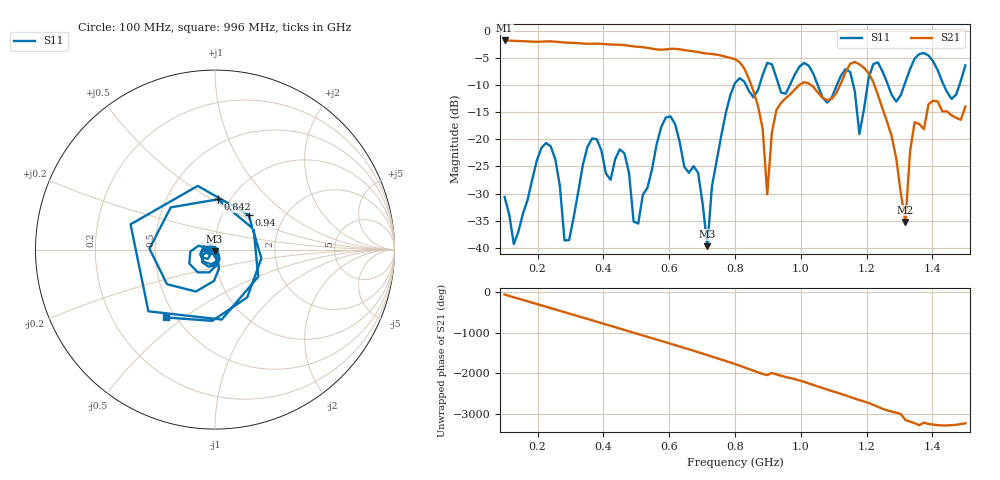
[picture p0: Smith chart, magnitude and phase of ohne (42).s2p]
! NanoVNA-App
! Date: 2025-09-26 09:55:43
! Start: 100MHz Stop: 1,5GHz Points: 101
! S-Parameter data: F S11 S21 S12 S22
# Hz S RI R 50
!  Frequency  S11_Real  S11_Imag  S21_Real  S21_Imag  S12_Real  S12_Imag  S22_Real  S22_Imag
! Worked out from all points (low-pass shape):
!   101 points, 100 MHz to 1.5 GHz, reference 50 ohm
!   highest |S21| = -1.79 dB at 100 MHz (marker M1); lowest = -35.2 dB at 1.318 GHz (marker M2)
!   |S21| within 3 dB of the highest: start of sweep to 771.5 MHz
!   lowest |S11| = -39.7 dB at 716 MHz (marker M3), VSWR 1.02, Z = 49.8 - j1.01 ohm
!   |S11| at or under -10 dB: start of sweep to 797.7 MHz; 833.4 MHz to 874.6 MHz (41.27 MHz wide, 4.83 % of centre); 1.051 GHz to 1.11 GHz (58.23 MHz wide, 5.39 % of centre) (the widest 3 of 7)
!   S12 and S22 are empty: the file has one direction only
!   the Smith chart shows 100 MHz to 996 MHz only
!   S11 on the Smith chart (normalised r, x): 100 MHz: 0.94, -0.01; 842 MHz: 0.88, +0.53; 940 MHz: 1.33, +0.55; 996 MHz: 0.44, -0.43
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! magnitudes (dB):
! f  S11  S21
! 100 MHz  -30.6  -1.8
! 128 MHz  -39.3  -1.9
! 226 MHz  -20.7  -2.0
! 296 MHz  -38.6  -2.2
! 338 MHz  -24.6  -2.4
! 464 MHz  -22.6  -2.6
! 506 MHz  -35.5  -3.0
! 576 MHz  -17.7  -3.5
! 716 MHz  -39.7  -4.2
! 800 MHz  -9.6  -5.3
! 842 MHz  -11.0  -8.8
! 898 MHz  -5.9  -30.1
! 940 MHz  -11.4  -13.3
! 996 MHz  -6.6  -10.0
! 1.038 GHz  -7.9  -10.3
! 1.15 GHz  -7.6  -6.1
! 1.178 GHz  -19.0  -6.2
! 1.22 GHz  -6.2  -9.4
! 1.276 GHz  -11.8  -19.4
! 1.318 GHz  -9.4  -35.2
! 1.346 GHz  -5.1  -16.9
! 1.5 GHz  -6.4  -14.0
